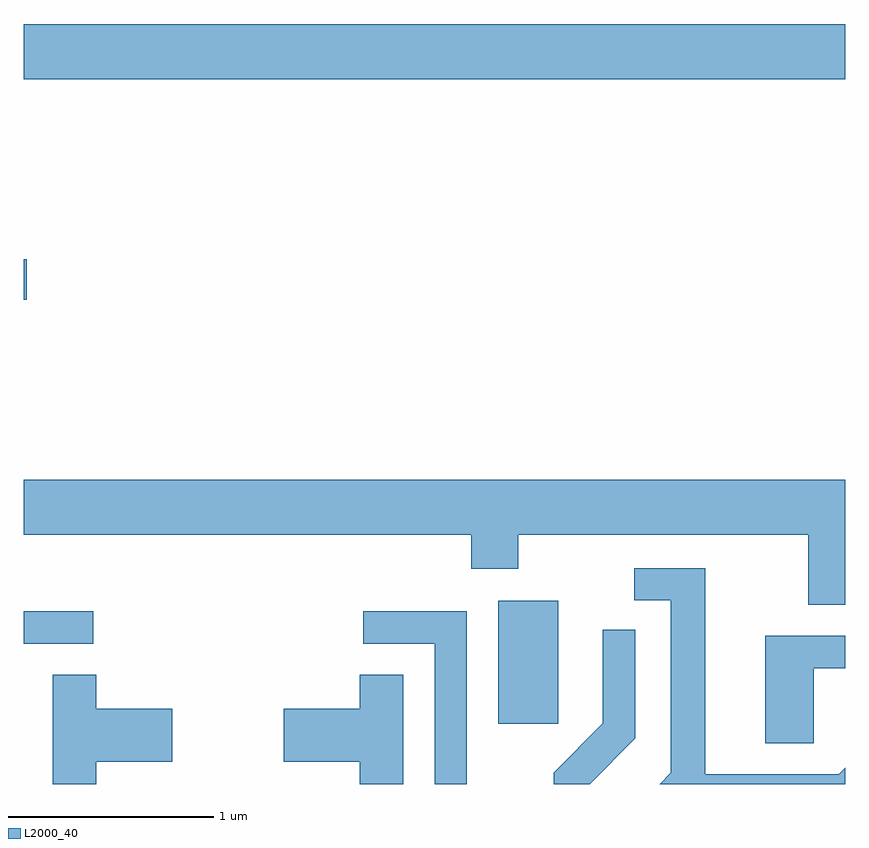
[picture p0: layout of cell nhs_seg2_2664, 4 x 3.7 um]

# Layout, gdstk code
import gdstk
lib = gdstk.Library(unit=1e-6, precision=1e-09)
def R(c, l, rs):  # rectangles x0, y0, x1, y1
    for r in rs: c.add(gdstk.rectangle(r[:2], r[2:], *l))
def P(c, l, *ps):  # polygons
    for p in ps: c.add(gdstk.Polygon(p, *l))
L2000_40 = (2000, 40)

nhs_seg2_2664 = lib.new_cell('nhs_seg2_2664')
R(nhs_seg2_2664, L2000_40, [(265.921,1014.096,266.214,1014.694), (263.611,1014.486,263.948,1014.644), (263.611,1016.161,263.624,1016.359), (263.611,1017.236,267.611,1017.504)])
P(nhs_seg2_2664, L2000_40, [(267.611,1015.284),(263.611,1015.284),(263.611,1015.016),(265.791,1015.016),(265.791,1014.851),(266.019,1014.851),(266.019,1015.016),(267.431,1015.016),(267.431,1014.676),(267.611,1014.676)],
  [(267.611,1013.881),(267.579,1013.849),(266.929,1013.849),(266.929,1014.854),(266.583,1014.854),(266.583,1014.696),(266.761,1014.696),(266.761,1013.857),(266.707,1013.802),(267.611,1013.802)],
  [(265.769,1014.644),(265.263,1014.644),(265.263,1014.486),(265.611,1014.486),(265.611,1013.802),(265.769,1013.802)],
  [(266.589,1014.024),(266.589,1014.553),(266.431,1014.553),(266.431,1014.097),(266.191,1013.857),(266.191,1013.802),(266.367,1013.802)],
  [(267.459,1014.366),(267.611,1014.366),(267.611,1014.524),(267.221,1014.524),(267.221,1014.001),(267.459,1014.001)],
  [(263.964,1013.911),(264.334,1013.911),(264.334,1014.169),(263.964,1014.169),(263.964,1014.334),(263.751,1014.334),(263.751,1013.802),(263.964,1013.802)],
  [(265.459,1014.334),(265.246,1014.334),(265.246,1014.169),(264.876,1014.169),(264.876,1013.911),(265.246,1013.911),(265.246,1013.802),(265.459,1013.802)])

lib.write_gds('nhs_seg2_2664.gds')
